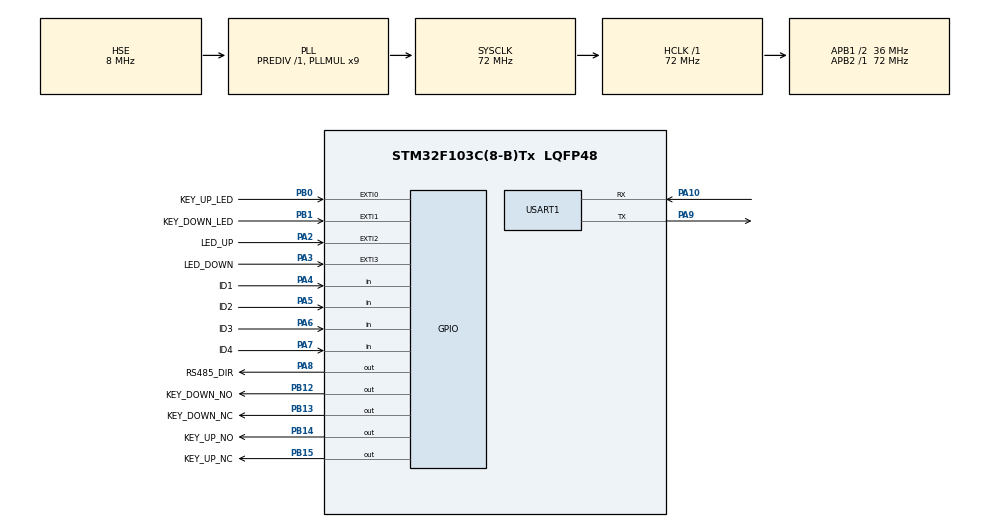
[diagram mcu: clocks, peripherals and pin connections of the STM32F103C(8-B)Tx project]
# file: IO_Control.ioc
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Dma.Request0=USART1_RX
Dma.USART1_RX.0.Direction=DMA_PERIPH_TO_MEMORY
Dma.USART1_RX.0.Instance=DMA1_Channel5
Dma.USART1_RX.0.MemDataAlignment=DMA_MDATAALIGN_BYTE
Dma.USART1_RX.0.MemInc=DMA_MINC_ENABLE
Dma.USART1_RX.0.Mode=DMA_NORMAL
Dma.USART1_RX.0.PeriphDataAlignment=DMA_PDATAALIGN_BYTE
Dma.USART1_RX.0.PeriphInc=DMA_PINC_DISABLE
Dma.USART1_RX.0.Priority=DMA_PRIORITY_LOW
Mcu.Family=STM32F1
Mcu.Name=STM32F103C(8-B)Tx
Mcu.Package=LQFP48
NVIC.DMA1_Channel5_IRQn=true\:0\:0\:false\:false\:true
NVIC.EXTI0_IRQn=true\:1\:0\:true\:false\:true
NVIC.EXTI1_IRQn=true\:1\:0\:true\:false\:true
NVIC.EXTI2_IRQn=true\:1\:0\:true\:false\:true
NVIC.EXTI3_IRQn=true\:1\:0\:true\:false\:true
NVIC.PriorityGroup=NVIC_PRIORITYGROUP_4
NVIC.TIM2_IRQn=true\:2\:0\:true\:false\:true
NVIC.USART1_IRQn=true\:0\:0\:false\:false\:true
PA10.Mode=Asynchronous
PA10.Signal=USART1_RX
PA13.Mode=Serial_Wire
PA13.Signal=SYS_JTMS-SWDIO
PA14.Mode=Serial_Wire
PA14.Signal=SYS_JTCK-SWCLK
PA2.GPIO_Label=LED_UP
PA2.GPIO_PuPd=GPIO_PULLUP
PA2.Signal=GPXTI2
PA3.GPIO_Label=LED_DOWN
PA3.GPIO_PuPd=GPIO_PULLUP
PA3.Signal=GPXTI3
PA4.GPIO_Label=ID1
PA4.GPIO_PuPd=GPIO_PULLUP
PA4.Signal=GPIO_Input
PA5.GPIO_Label=ID2
PA5.GPIO_PuPd=GPIO_PULLUP
PA5.Signal=GPIO_Input
PA6.GPIO_Label=ID3
PA6.GPIO_PuPd=GPIO_PULLUP
PA6.Signal=GPIO_Input
PA7.GPIO_Label=ID4
PA7.GPIO_PuPd=GPIO_PULLUP
PA7.Signal=GPIO_Input
PA8.GPIO_Label=RS485_DIR
PA8.Signal=GPIO_Output
PA9.Mode=Asynchronous
PA9.Signal=USART1_TX
PB0.GPIO_Label=KEY_UP_LED
PB0.GPIO_PuPd=GPIO_PULLUP
PB0.Signal=GPXTI0
PB1.GPIO_Label=KEY_DOWN_LED
PB1.GPIO_PuPd=GPIO_PULLUP
PB1.Signal=GPXTI1
PB12.GPIO_Label=KEY_DOWN_NO
PB12.Signal=GPIO_Output
PB13.GPIO_Label=KEY_DOWN_NC
PB13.Signal=GPIO_Output
PB14.GPIO_Label=KEY_UP_NO
PB14.Signal=GPIO_Output
PB15.GPIO_Label=KEY_UP_NC
PB15.Signal=GPIO_Output
PD0-OSC_IN.Mode=HSE-External-Oscillator
PD0-OSC_IN.Signal=RCC_OSC_IN
PD1-OSC_OUT.Mode=HSE-External-Oscillator
PD1-OSC_OUT.Signal=RCC_OSC_OUT
ProjectManager.HeapSize=0x200
ProjectManager.StackSize=0x400
ProjectManager.TargetToolchain=MDK-ARM V5
RCC.AHBFreq_Value=72000000
RCC.APB1CLKDivider=RCC_HCLK_DIV2
RCC.APB1Freq_Value=36000000
RCC.APB1TimFreq_Value=72000000
RCC.APB2Freq_Value=72000000
RCC.APB2TimFreq_Value=72000000
RCC.HCLKFreq_Value=72000000
RCC.PLLMUL=RCC_PLL_MUL9
RCC.PLLSourceVirtual=RCC_PLLSOURCE_HSE
RCC.SYSCLKFreq_VALUE=72000000
RCC.SYSCLKSource=RCC_SYSCLKSOURCE_PLLCLK
RCC.USBFreq_Value=72000000
TIM2.Period=999
TIM2.Prescaler=71
USART1.VirtualMode=VM_ASYNC
VP_TIM2_VS_ClockSourceINT.Mode=Internal
board=IO_Control

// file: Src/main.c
/**
  ******************************************************************************
  * File Name          : main.c
  * Description        : Main program body
  ******************************************************************************
  ** This notice applies to any and all portions of this file
  * that are not between comment pairs USER CODE BEGIN and
  * USER CODE END. Other portions of this file, whether
  * inserted by the user or by software development tools
  * are owned by their respective copyright owners.
  *
  * COPYRIGHT(c) 2018 STMicroelectronics
  *
  * Redistribution and use in source and binary forms, with or without modification,
  * are permitted provided that the following conditions are met:
  *   1. Redistributions of source code must retain the above copyright notice,
  *      this list of conditions and the following disclaimer.
  *   2. Redistributions in binary form must reproduce the above copyright notice,
  *      this list of conditions and the following disclaimer in the documentation
  *      and/or other materials provided with the distribution.
  *   3. Neither the name of STMicroelectronics nor the names of its contributors
  *      may be used to endorse or promote products derived from this software
  *      without specific prior written permission.
  *
  * THIS SOFTWARE IS PROVIDED BY THE COPYRIGHT HOLDERS AND CONTRIBUTORS "AS IS"
  * AND ANY EXPRESS OR IMPLIED WARRANTIES, INCLUDING, BUT NOT LIMITED TO, THE
  * IMPLIED WARRANTIES OF MERCHANTABILITY AND FITNESS FOR A PARTICULAR PURPOSE ARE
  * DISCLAIMED. IN NO EVENT SHALL THE COPYRIGHT HOLDER OR CONTRIBUTORS BE LIABLE
  * FOR ANY DIRECT, INDIRECT, INCIDENTAL, SPECIAL, EXEMPLARY, OR CONSEQUENTIAL
  * DAMAGES (INCLUDING, BUT NOT LIMITED TO, PROCUREMENT OF SUBSTITUTE GOODS OR
  * SERVICES; LOSS OF USE, DATA, OR PROFITS; OR BUSINESS INTERRUPTION) HOWEVER
  * CAUSED AND ON ANY THEORY OF LIABILITY, WHETHER IN CONTRACT, STRICT LIABILITY,
  * OR TORT (INCLUDING NEGLIGENCE OR OTHERWISE) ARISING IN ANY WAY OUT OF THE USE
  * OF THIS SOFTWARE, EVEN IF ADVISED OF THE POSSIBILITY OF SUCH DAMAGE.
  *
  ******************************************************************************
  */
#include "main.h"
#include "stm32f1xx_hal.h"
#include "dma.h"
#include "tim.h"
#include "usart.h"
#include "gpio.h"
#include "iwdg.h"

/* USER CODE BEGIN PV */
/* Private variables ---------------------------------------------------------*/
#ifdef __GNUC__
/* With GCC, small printf (option LD Linker->Libraries->Small printf
   set to 'Yes') calls __io_putchar() */
#define PUTCHAR_PROTOTYPE int __io_putchar(int ch)
#else
#define PUTCHAR_PROTOTYPE int fputc(int ch, FILE *f)
#endif /* __GNUC__ */

#define TIMES (100)
#define MIN_TIMES (10)
#define MAX_TIMES (TIMES-10)
#define FLOOR_DOWN 0xf0
#define FLOOR_UP   0x0f
typedef enum{
	RUNNING = 0x01,
	ARRIVED = 0x02,
	STATIC = 0x03
}RUNNINGTYPE;
uint8_t bus_id;
uint8_t up_h_times=0,up_l_times=0,up_s_times=0;
uint8_t down_h_times=0,down_l_times=0,down_s_times = 0;
uint8_t running_state =0;
uint8_t running_state_up =0;
uint8_t running_state_down =0;
uint8_t floor_c = 0;
uint32_t time_ms = 0;
uint32_t time_500ms = 0;
uint8_t timeout_flag = 0;
uint8_t up_state = 0;
uint8_t down_state = 0;

/* USER CODE END PV */

void SystemClock_Config(void);
void down_led_dec(void);
void up_led_dec(void);
/* USER CODE BEGIN PFP */
/* Private function prototypes -----------------------------------------------*/

/* USER CODE END PFP */

/* USER CODE BEGIN 0 */
GPIO_PinState pre_up_led_state ;
GPIO_PinState up_led_state ;
GPIO_PinState down_led_state ;
GPIO_PinState pre_down_led_state ;
int up_times = 0,down_times = 0;
/* USER CODE END 0 */

int main(void)
{

  /* USER CODE BEGIN 1 */
	//uint8_t state_data

  /* USER CODE END 1 */

  /* MCU Configuration----------------------------------------------------------*/

  /* Reset of all peripherals, Initializes the Flash interface and the Systick. */
  HAL_Init();

  /* Configure the system clock */
  SystemClock_Config();

  /* Initialize all configured peripherals */
  MX_GPIO_Init();
  MX_DMA_Init();
  MX_USART1_UART_Init();
  MX_TIM2_Init();

  /* USER CODE BEGIN 2 */
		// Tout = ((4*2^prer)*rlr)/32
	// Tout = IWDG_PRESCALER_256 * rlr /32
	//8 S
	IWDG_init(IWDG_PRESCALER_64,1000);
  /* ��ʼ������ */
  //NCΪ��
  KEY_DOWN_NC_L;KEY_UP_NC_L;
  KEY_DOWN_NO_L;KEY_UP_NO_L;

// ����ʱ��2

	HAL_TIM_Base_Start_IT(&htim2);
	__HAL_UART_ENABLE_IT(&huart1,UART_IT_IDLE);
	HAL_UART_Receive_DMA(&huart1,UsartType1.usartDMA_rxBuf,RECEIVELEN);

  /*  */
	//printf("id:%d\n",bus_id);
  /* USER CODE END 2 */

  /* Infinite loop */
  /* USER CODE BEGIN WHILE */
	up_led_state = HAL_GPIO_ReadPin(LED_UP_GPIO_Port,LED_UP_Pin);
	pre_up_led_state = up_led_state;

	down_led_state = HAL_GPIO_ReadPin(LED_DOWN_GPIO_Port,LED_DOWN_Pin);
	pre_down_led_state = down_led_state;
  while (1)
  {
  /* ��ȡBUSID */

  bus_id = get_id();
  ;;
  /* USER CODE END WHILE */

  /* USER CODE BEGIN 3 */
  //LED io���

		IWDG_Feed();
		if(HAL_GPIO_ReadPin(KEY_UP_LED_GPIO_Port,KEY_UP_LED_Pin) != GPIO_PIN_RESET)
		{
			up_state = 0;
		}
		else
		{
			up_state = 1;
		}
		if(HAL_GPIO_ReadPin(KEY_DOWN_LED_GPIO_Port,KEY_DOWN_LED_Pin) != GPIO_PIN_RESET)
		{
			down_state = 0;
		}
		else
		{
			down_state = 1;
      ;;;
		}
		down_led_dec();
		up_led_dec();

 //if(running_state_up == STATIC || running_state_down == STATIC )
  {
    if(rs485_data == FLOOR_DOWN && running_state_down == STATIC)
		{
			if( HAL_GPIO_ReadPin(KEY_DOWN_LED_GPIO_Port,KEY_DOWN_LED_Pin) != GPIO_PIN_RESET )
			{
				//���°���
				{
					KEY_DOWN_NO_H;
					time_ms = 0;
				}
			}
		}
		if(rs485_data == FLOOR_UP && running_state_up == STATIC)
		{
			if( HAL_GPIO_ReadPin(KEY_UP_LED_GPIO_Port,KEY_UP_LED_Pin) != GPIO_PIN_RESET )
				{
					//���°���
					{
						KEY_UP_NO_H;
						time_ms = 0;
					}
				}
		}
		rs485_data = 0;
  }
	// 时间参数
	HAL_Delay(15);
  }
  /* USER CODE END 3 */

}

/** System Clock Configuration
*/
void SystemClock_Config(void)
{

  RCC_OscInitTypeDef RCC_OscInitStruct;
  RCC_ClkInitTypeDef RCC_ClkInitStruct;

    /**Initializes the CPU, AHB and APB busses clocks
    */
  RCC_OscInitStruct.OscillatorType = RCC_OSCILLATORTYPE_HSE;
  RCC_OscInitStruct.HSEState = RCC_HSE_ON;
  RCC_OscInitStruct.HSEPredivValue = RCC_HSE_PREDIV_DIV1;
  RCC_OscInitStruct.HSIState = RCC_HSI_ON;
  RCC_OscInitStruct.PLL.PLLState = RCC_PLL_ON;
  RCC_OscInitStruct.PLL.PLLSource = RCC_PLLSOURCE_HSE;
  RCC_OscInitStruct.PLL.PLLMUL = RCC_PLL_MUL9;
  if (HAL_RCC_OscConfig(&RCC_OscInitStruct) != HAL_OK)
  {
    _Error_Handler(__FILE__, __LINE__);
  }

    /**Initializes the CPU, AHB and APB busses clocks
    */
  RCC_ClkInitStruct.ClockType = RCC_CLOCKTYPE_HCLK|RCC_CLOCKTYPE_SYSCLK
                              |RCC_CLOCKTYPE_PCLK1|RCC_CLOCKTYPE_PCLK2;
  RCC_ClkInitStruct.SYSCLKSource = RCC_SYSCLKSOURCE_PLLCLK;
  RCC_ClkInitStruct.AHBCLKDivider = RCC_SYSCLK_DIV1;
  RCC_ClkInitStruct.APB1CLKDivider = RCC_HCLK_DIV2;
  RCC_ClkInitStruct.APB2CLKDivider = RCC_HCLK_DIV1;

  if (HAL_RCC_ClockConfig(&RCC_ClkInitStruct, FLASH_LATENCY_2) != HAL_OK)
  {
    _Error_Handler(__FILE__, __LINE__);
  }

    /**Configure the Systick interrupt time
    */
  HAL_SYSTICK_Config(HAL_RCC_GetHCLKFreq()/1000);

    /**Configure the Systick
    */
  HAL_SYSTICK_CLKSourceConfig(SYSTICK_CLKSOURCE_HCLK);

  /* SysTick_IRQn interrupt configuration */
  HAL_NVIC_SetPriority(SysTick_IRQn, 0, 0);
}

/* USER CODE BEGIN 4 */
PUTCHAR_PROTOTYPE
{
	RS485_DIR_H;
	HAL_UART_Transmit(&huart1, (uint8_t *)&ch, 1, 0xFFFF);
	RS485_DIR_L;
	return ch;
}
void down_led_dec(void)
{
		down_times++;
		down_led_state = HAL_GPIO_ReadPin(LED_DOWN_GPIO_Port,LED_DOWN_Pin);
		if(pre_down_led_state != down_led_state)
		{
			down_s_times++;
			pre_down_led_state = down_led_state;
		}
		if(down_led_state == GPIO_PIN_RESET)
		{
			down_l_times++;
		}
		else
		{
			down_h_times++;
		}
			if( down_s_times > 2 && down_l_times > 30 && down_h_times > 30)
			{
				running_state_down = ARRIVED;
			}
			else if(down_l_times==0 && down_h_times > (TIMES-10))
			{
				running_state_down = STATIC;
			}
			else if(down_l_times>(TIMES-10) && down_h_times ==0)
			{
				running_state_down = RUNNING;
			}
		if(down_times > TIMES )
		{

			down_times = 0;
			down_h_times = 0;
			down_l_times = 0;
			down_s_times = 0;
		}
}
void up_led_dec(void)
{
		up_times++;
		up_led_state = HAL_GPIO_ReadPin(LED_UP_GPIO_Port,LED_UP_Pin);
		if(pre_up_led_state != up_led_state)
		{
			up_s_times++;
			pre_up_led_state = up_led_state;
		}
		if(up_led_state == GPIO_PIN_RESET)
		{
			up_l_times++;
		}
		else
		{
			up_h_times++;
		}
			if( up_s_times > 2 && up_l_times > 30 && up_h_times > 30)
			{
				running_state_up = ARRIVED;
			}
			else if(up_l_times==0 && up_h_times > (TIMES-10))
			{
				running_state_up = STATIC;
			}
			else if(up_l_times>(TIMES-10) && up_h_times ==0)
			{
				running_state_up = RUNNING;
			}
		if(up_times > TIMES )
		{
			up_times = 0;
			up_h_times = 0;
			up_l_times = 0;
			up_s_times = 0;
		}
}
/* USER CODE END 4 */

void _Error_Handler(char * file, int line)
{
  while(1)
  {
  }
}

/************************ (C) COPYRIGHT STMicroelectronics *****END OF FILE****/
